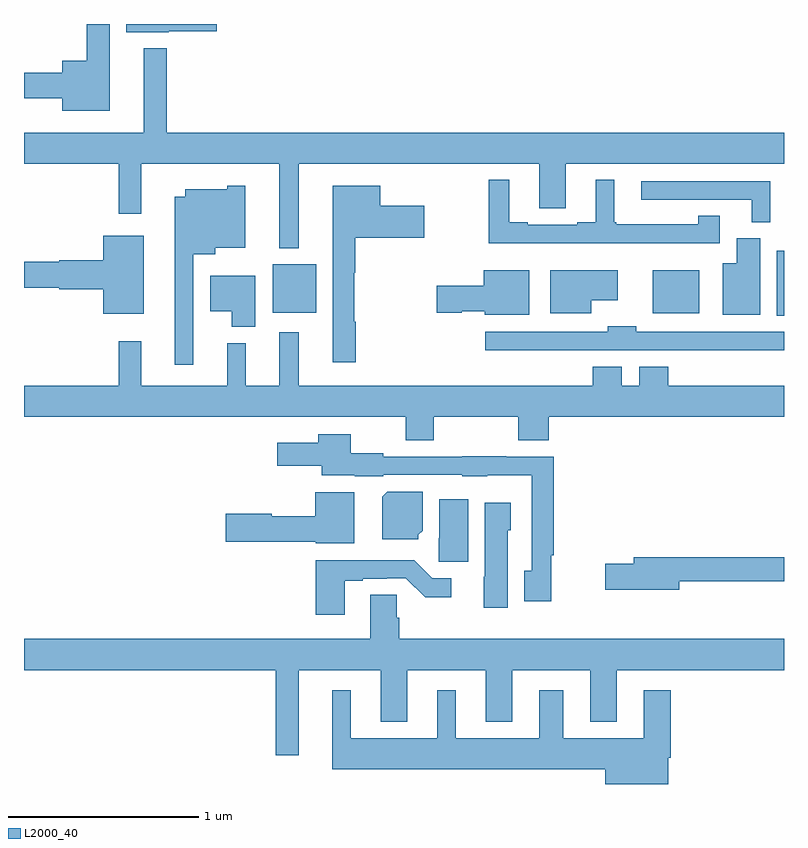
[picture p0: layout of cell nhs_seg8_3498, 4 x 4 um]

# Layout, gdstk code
import gdstk
lib = gdstk.Library(unit=1e-6, precision=1e-09)
def R(c, l, rs):  # rectangles x0, y0, x1, y1
    for r in rs: c.add(gdstk.rectangle(r[:2], r[2:], *l))
def P(c, l, *ps):  # polygons
    for p in ps: c.add(gdstk.Polygon(p, *l))
L2000_40 = (2000, 40)

nhs_seg8_3498 = lib.new_cell('nhs_seg8_3498')
R(nhs_seg8_3498, L2000_40, [(330.962,1118.365,331,1118.707), (330.308,1118.378,330.553,1118.605), (328.31,1118.381,328.537,1118.635)])
P(nhs_seg8_3498, L2000_40, [(327.762,1119.863),(328.015,1119.863),(328.015,1119.9),(327.539,1119.9),(327.539,1119.857),(327.762,1119.857)],
  [(327.451,1119.9),(327.33,1119.9),(327.33,1119.706),(327.2,1119.706),(327.2,1119.644),(327,1119.644),(327,1119.509),(327.2,1119.509),(327.2,1119.443),(327.451,1119.443)],
  [(328.447,1119.164),(329.711,1119.164),(329.711,1118.929),(329.851,1118.929),(329.851,1119.164),(331,1119.164),(331,1119.328),(327.751,1119.328),(327.751,1119.772),(327.629,1119.772),(327.629,1119.328),(327,1119.328),(327,1119.164),(327.499,1119.164),(327.499,1118.901),(327.618,1118.901),(327.618,1119.164),(328.343,1119.164),(328.343,1118.72),(328.447,1118.72)],
  [(330.661,1118.891),(330.548,1118.891),(330.548,1118.845),(330.118,1118.845),(330.118,1118.857),(330.106,1118.857),(330.106,1119.079),(330.008,1119.079),(330.008,1118.857),(329.912,1118.857),(329.912,1118.844),(329.65,1118.844),(329.65,1118.857),(329.554,1118.857),(329.554,1119.079),(329.445,1119.079),(329.445,1118.747),(330.661,1118.747)],
  [(330.928,1119.072),(330.249,1119.072),(330.249,1118.976),(330.83,1118.976),(330.83,1118.857),(330.928,1118.857)],
  [(328.747,1118.333),(328.739,1118.333),(328.739,1118.59),(328.744,1118.59),(328.744,1118.774),(329.107,1118.774),(329.107,1118.944),(328.876,1118.944),(328.876,1119.049),(328.625,1119.049),(328.625,1118.121),(328.747,1118.121)],
  [(327.891,1118.687),(328.006,1118.687),(328.006,1118.723),(328.165,1118.723),(328.165,1119.049),(328.071,1119.049),(328.071,1119.031),(327.848,1119.031),(327.848,1118.992),(327.794,1118.992),(327.794,1118.106),(327.891,1118.106)],
  [(327.631,1118.785),(327.416,1118.785),(327.416,1118.656),(327.186,1118.656),(327.186,1118.648),(327,1118.648),(327,1118.512),(327.186,1118.512),(327.186,1118.504),(327.416,1118.504),(327.416,1118.375),(327.631,1118.375)],
  [(330.874,1118.772),(330.752,1118.772),(330.752,1118.641),(330.677,1118.641),(330.677,1118.369),(330.874,1118.369)],
  [(329.659,1118.605),(329.42,1118.605),(329.42,1118.522),(329.172,1118.522),(329.172,1118.38),(329.304,1118.38),(329.304,1118.387),(329.424,1118.387),(329.424,1118.369),(329.659,1118.369)],
  [(329.986,1118.447),(330.124,1118.447),(330.124,1118.605),(329.771,1118.605),(329.771,1118.378),(329.986,1118.378)],
  [(328.216,1118.575),(327.98,1118.575),(327.98,1118.387),(328.094,1118.387),(328.094,1118.306),(328.216,1118.306)],
  [(329.972,1118.184),(330.475,1118.184),(330.475,1118.183),(331,1118.183),(331,1118.28),(330.222,1118.28),(330.222,1118.308),(330.072,1118.308),(330.072,1118.28),(329.427,1118.28),(329.427,1118.183),(329.972,1118.183)],
  [(328.07,1118.221),(328.07,1117.996),(327.617,1117.996),(327.617,1118.23),(327.499,1118.23),(327.499,1117.996),(327,1117.996),(327,1117.832),(329.009,1117.832),(329.009,1117.708),(329.157,1117.708),(329.157,1117.832),(329.602,1117.832),(329.602,1117.708),(329.762,1117.708),(329.762,1117.832),(331,1117.832),(331,1117.996),(330.392,1117.996),(330.392,1118.095),(330.239,1118.095),(330.239,1117.996),(330.145,1117.996),(330.145,1118.095),(329.993,1118.095),(329.993,1117.996),(328.447,1117.996),(328.447,1118.278),(328.343,1118.278),(328.343,1117.996),(328.168,1117.996),(328.168,1118.221)],
  [(329.774,1117.105),(329.789,1117.105),(329.789,1117.623),(329.539,1117.623),(329.539,1117.625),(329.307,1117.625),(329.307,1117.623),(328.89,1117.623),(328.89,1117.642),(328.72,1117.642),(328.72,1117.741),(328.549,1117.741),(328.549,1117.696),(328.332,1117.696),(328.332,1117.574),(328.568,1117.574),(328.568,1117.526),(328.74,1117.526),(328.74,1117.52),(328.89,1117.52),(328.89,1117.527),(329.307,1117.527),(329.307,1117.52),(329.439,1117.52),(329.439,1117.526),(329.673,1117.526),(329.673,1117.022),(329.633,1117.022),(329.633,1116.861),(329.774,1116.861)],
  [(329.076,1117.212),(329.098,1117.234),(329.098,1117.438),(328.912,1117.438),(328.886,1117.412),(328.886,1117.187),(329.076,1117.187)],
  [(328.738,1117.436),(328.532,1117.436),(328.532,1117.309),(328.305,1117.309),(328.305,1117.322),(328.062,1117.322),(328.062,1117.175),(328.536,1117.175),(328.536,1117.166),(328.738,1117.166)],
  [(329.338,1117.399),(329.186,1117.399),(329.186,1117.194),(329.182,1117.194),(329.182,1117.071),(329.338,1117.071)],
  [(329.545,1117.236),(329.563,1117.236),(329.563,1117.381),(329.426,1117.381),(329.426,1116.99),(329.42,1116.99),(329.42,1116.828),(329.545,1116.828)],
  [(330.448,1116.966),(331,1116.966),(331,1117.094),(330.209,1117.094),(330.209,1117.058),(330.06,1117.058),(330.06,1116.923),(330.448,1116.923)],
  [(328.687,1116.969),(328.783,1116.969),(328.783,1116.981),(328.91,1116.981),(328.91,1116.984),(329.01,1116.984),(329.113,1116.882),(329.248,1116.882),(329.248,1116.984),(329.148,1116.984),(329.054,1117.078),(328.535,1117.078),(328.535,1116.792),(328.687,1116.792)],
  [(328.447,1116.5),(328.877,1116.5),(328.877,1116.227),(329.017,1116.227),(329.017,1116.5),(329.429,1116.5),(329.429,1116.227),(329.569,1116.227),(329.569,1116.5),(329.981,1116.5),(329.981,1116.227),(330.121,1116.227),(330.121,1116.5),(331,1116.5),(331,1116.664),(328.976,1116.664),(328.976,1116.774),(328.962,1116.774),(328.962,1116.896),(328.823,1116.896),(328.823,1116.664),(327,1116.664),(327,1116.5),(328.326,1116.5),(328.326,1116.051),(328.447,1116.051)],
  [(330.391,1116.038),(330.404,1116.038),(330.404,1116.394),(330.263,1116.394),(330.263,1116.142),(329.839,1116.142),(329.839,1116.394),(329.711,1116.394),(329.711,1116.142),(329.272,1116.142),(329.272,1116.394),(329.174,1116.394),(329.174,1116.142),(328.72,1116.142),(328.72,1116.394),(328.622,1116.394),(328.622,1115.978),(330.059,1115.978),(330.059,1115.9),(330.391,1115.9)])

lib.write_gds('nhs_seg8_3498.gds')
